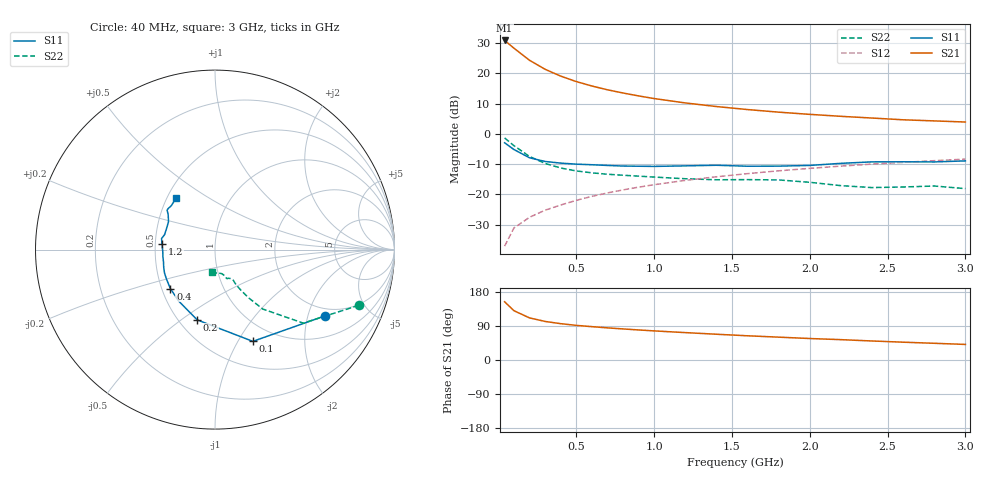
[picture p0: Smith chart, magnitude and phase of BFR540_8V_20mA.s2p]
! Filename:  BFR540I.S2P  Version:  3.0
! Philips part #: BFR540  Date: Feb 1992
! Bias condition: Vce=8V, Ic=20mA
#  MHz  S  MA  R  50
! Freq  S11  S21  S12  S22  !GUM [dB]
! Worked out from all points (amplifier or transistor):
!   21 points, 40 MHz to 3 GHz, reference 50 ohm
!   highest |S21| = 30.9 dB at 40 MHz (marker M1)
!   |S21| within 3 dB of that: start of sweep to 111.2 MHz
!   unconditionally stable (mu >= 1): 836.7 MHz to 2.875 GHz
!   at 300 MHz: K = 0.82, MSG = 23.3 dB, |S12| = -25.2 dB
!   at 1 GHz: K = 1.02, MAG = 13.5 dB, |S12| = -16.8 dB
!   at 3 GHz: K = 1.00, MSG = 6.1 dB, |S12| = -8.3 dB
!   lowest NFmin = 1.50 dB at 900 MHz
!   S11 on the Smith chart (normalised r, x): 40 MHz: 1.70, -2.57; 100 MHz: 0.78, -1.16; 200 MHz: 0.61, -0.58; 400 MHz: 0.56, -0.27; 1.2 GHz: 0.54, +0.04; 3 GHz: 0.56, +0.36
40  0.714 -31.2  35.05 153.6  0.014 75.0  0.859 -21.2
100  0.553 -67.6  26.12 130.1  0.028 64.5  0.64 -39.8
200  0.404 -104.2  16.48 111.1  0.042 62.2  0.425 -51.2
300  0.351 -125.2  11.71 101.8  0.055 64.2  0.326 -55.2
400  0.33 -138.8  9.035 95.9  0.067 65.8  0.274 -57.2
500  0.317 -148.2  7.338 91.4  0.08 67.5  0.245 -58.4
600  0.31 -155.2  6.202 88.0  0.093 68.2  0.228 -58.9
700  0.302 -161.1  5.37 84.8  0.106 68.9  0.216 -59.2
800  0.295 -166.6  4.753 82.0  0.119 69.1  0.208 -59.1
900  0.293 -172.1  4.254 79.3  0.132 69.2  0.201 -59.1
1000  0.291 -177.3  3.847 76.8  0.145 69.0  0.194 -59.6
1200  0.297 174.0  3.255 72.3  0.171 68.4  0.182 -62.1
1400  0.304 168.3  2.839 68.0  0.196 67.5  0.175 -65.6
1600  0.293 163.5  2.53 63.9  0.221 66.6  0.176 -66.3
1800  0.294 157.2  2.292 60.3  0.246 65.4  0.174 -68.1
2000  0.302 149.0  2.107 56.7  0.27 64.0  0.159 -69.1
2200  0.327 143.0  1.956 53.7  0.294 62.7  0.14 -73.8
2400  0.346 140.5  1.832 50.2  0.318 61.1  0.13 -84.0
2600  0.347 139.0  1.714 47.0  0.339 59.5  0.133 -93.2
2800  0.345 134.8  1.643 44.1  0.362 58.0  0.138 -96.6
3000  0.359 127.5  1.574 41.1  0.384 56.4  0.125 -98.7
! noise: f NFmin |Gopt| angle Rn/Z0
900  1.5  0.231  130  0.14
2000  2.2  0.41  -154  0.13
